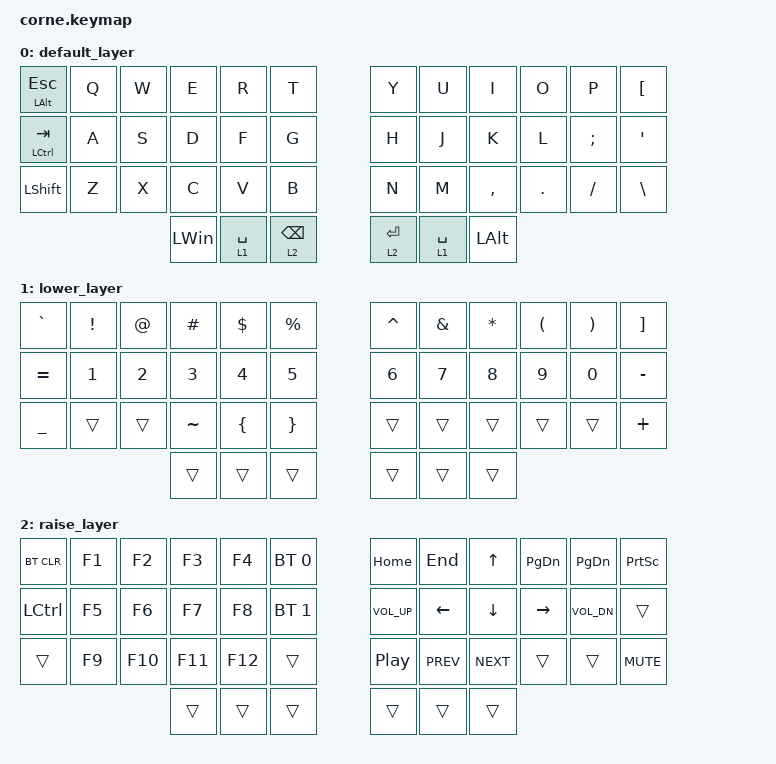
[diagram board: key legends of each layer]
#include <behaviors.dtsi>
#include <dt-bindings/zmk/bt.h>
#include <dt-bindings/zmk/keys.h>

#define VUKEYS 0
#define UA 1
#define SYM 2
#define PREF 3

/ {
    combos { compatible = "zmk,combos"; };

    keymap {
        compatible = "zmk,keymap";

        default_layer {
            label = "default_layer";
            bindings = <
&mt LALT ESC    &kp Q  &kp W  &kp E         &kp R        &kp T              &kp Y        &kp U        &kp I         &kp O       &kp P          &kp LBKT
&mt LCTRL TAB   &kp A  &kp S  &kp D         &kp F        &kp G              &kp H        &kp J        &kp K         &kp L       &kp SEMICOLON  &kp SQT
&kp LEFT_SHIFT  &kp Z  &kp X  &kp C         &kp V        &kp B              &kp N        &kp M        &kp COMMA     &kp PERIOD  &kp SLASH      &kp BACKSLASH
                              &kp LEFT_WIN  &lt 1 SPACE  &lt 2 BACKSPACE    &lt 2 ENTER  &lt 1 SPACE  &kp LEFT_ALT
            >;
        };

        lower_layer {
            label = "lower_layer";
            bindings = <
&kp GRAVE       &kp EXCLAMATION  &kp AT_SIGN  &kp HASH   &kp DOLLAR      &kp PERCENT        &kp CARET  &kp AMPERSAND  &kp ASTERISK  &kp LEFT_PARENTHESIS  &kp RIGHT_PARENTHESIS  &kp RIGHT_BRACKET
&kp EQUAL       &kp N1           &kp N2       &kp N3     &kp N4          &kp N5             &kp N6     &kp N7         &kp N8        &kp N9                &kp N0                 &kp MINUS
&kp UNDERSCORE  &trans           &trans       &kp TILDE  &kp LEFT_BRACE  &kp RIGHT_BRACE    &trans     &trans         &trans        &trans                &trans                 &kp PLUS
                                              &trans     &trans          &trans             &trans     &trans         &trans
            >;
        };

        raise_layer {
            label = "raise_layer";
            bindings = <
&bt BT_CLR  &kp F1  &kp F2   &kp F3   &kp F4   &bt BT_SEL 0    &kp HOME      &kp END     &kp UP      &kp PG_DN  &kp PG_DN     &kp PRINTSCREEN
&kp LCTRL   &kp F5  &kp F6   &kp F7   &kp F8   &bt BT_SEL 1    &kp C_VOL_UP  &kp LEFT    &kp DOWN    &kp RIGHT  &kp C_VOL_DN  &trans
&trans      &kp F9  &kp F10  &kp F11  &kp F12  &trans          &kp C_PP      &kp C_PREV  &kp C_NEXT  &trans     &trans        &kp K_MUTE
                             &trans   &trans   &trans          &trans        &trans      &trans
            >;
        };
    };
};
